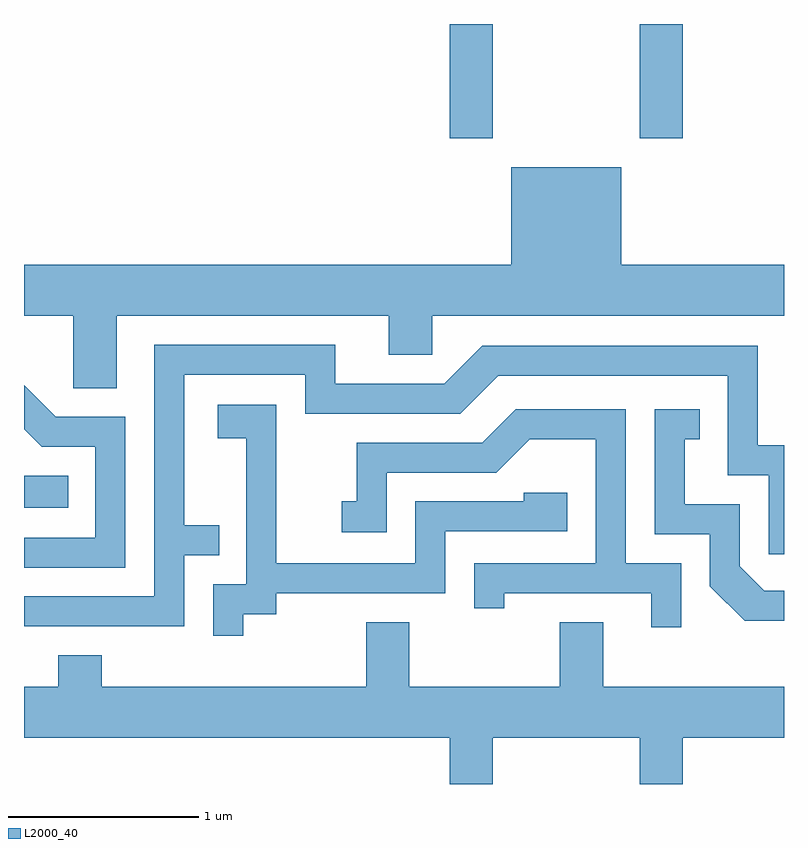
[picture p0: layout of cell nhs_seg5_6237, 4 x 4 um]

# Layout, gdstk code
import gdstk
lib = gdstk.Library(unit=1e-6, precision=1e-09)
def R(c, l, rs):  # rectangles x0, y0, x1, y1
    for r in rs: c.add(gdstk.rectangle(r[:2], r[2:], *l))
def P(c, l, *ps):  # polygons
    for p in ps: c.add(gdstk.Polygon(p, *l))
L2000_40 = (2000, 40)

nhs_seg5_6237 = lib.new_cell('nhs_seg5_6237')
R(nhs_seg5_6237, L2000_40, [(369.611,1493.526,369.843,1493.694), (371.851,1495.471,372.079,1496.072), (372.851,1495.471,373.079,1496.072)])
P(nhs_seg5_6237, L2000_40, [(370.099,1494.536),(371.531,1494.536),(371.531,1494.331),(371.759,1494.331),(371.759,1494.536),(373.611,1494.536),(373.611,1494.804),(372.754,1494.804),(372.754,1495.319),(372.176,1495.319),(372.176,1494.804),(369.611,1494.804),(369.611,1494.536),(369.871,1494.536),(369.871,1494.156),(370.099,1494.156)],
  [(370.454,1493.276),(370.638,1493.276),(370.638,1493.434),(370.454,1493.434),(370.454,1494.226),(371.091,1494.226),(371.091,1494.021),(371.907,1494.021),(372.107,1494.221),(373.316,1494.221),(373.316,1493.696),(373.531,1493.696),(373.531,1493.281),(373.611,1493.281),(373.611,1493.854),(373.474,1493.854),(373.474,1494.379),(372.024,1494.379),(371.824,1494.179),(371.249,1494.179),(371.249,1494.384),(370.296,1494.384),(370.296,1493.059),(369.611,1493.059),(369.611,1492.901),(370.454,1492.901)],
  [(370.144,1494.004),(369.777,1494.004),(369.611,1494.17),(369.611,1493.939),(369.704,1493.846),(369.986,1493.846),(369.986,1493.369),(369.611,1493.369),(369.611,1493.211),(370.144,1493.211)],
  [(370.764,1492.966),(370.939,1492.966),(370.939,1493.076),(371.829,1493.076),(371.829,1493.401),(372.469,1493.401),(372.469,1493.604),(372.241,1493.604),(372.241,1493.559),(371.671,1493.559),(371.671,1493.234),(370.939,1493.234),(370.939,1494.069),(370.631,1494.069),(370.631,1493.891),(370.781,1493.891),(370.781,1493.124),(370.606,1493.124),(370.606,1492.853),(370.764,1492.853)],
  [(373.611,1493.089),(373.507,1493.089),(373.379,1493.217),(373.379,1493.544),(373.089,1493.544),(373.089,1493.886),(373.168,1493.886),(373.168,1494.044),(372.931,1494.044),(372.931,1493.386),(373.221,1493.386),(373.221,1493.114),(373.404,1492.931),(373.611,1492.931)],
  [(373.069,1493.234),(372.779,1493.234),(372.779,1494.044),(372.199,1494.044),(372.024,1493.869),(371.361,1493.869),(371.361,1493.559),(371.283,1493.559),(371.283,1493.396),(371.519,1493.396),(371.519,1493.711),(372.097,1493.711),(372.272,1493.886),(372.621,1493.886),(372.621,1493.234),(371.981,1493.234),(371.981,1492.998),(372.139,1492.998),(372.139,1493.076),(372.911,1493.076),(372.911,1492.898),(373.069,1492.898)],
  [(372.079,1492.316),(372.851,1492.316),(372.851,1492.072),(373.079,1492.072),(373.079,1492.316),(373.611,1492.316),(373.611,1492.584),(372.659,1492.584),(372.659,1492.924),(372.431,1492.924),(372.431,1492.584),(371.639,1492.584),(371.639,1492.924),(371.411,1492.924),(371.411,1492.584),(370.019,1492.584),(370.019,1492.749),(369.791,1492.749),(369.791,1492.584),(369.611,1492.584),(369.611,1492.316),(371.851,1492.316),(371.851,1492.072),(372.079,1492.072)])

lib.write_gds('nhs_seg5_6237.gds')
